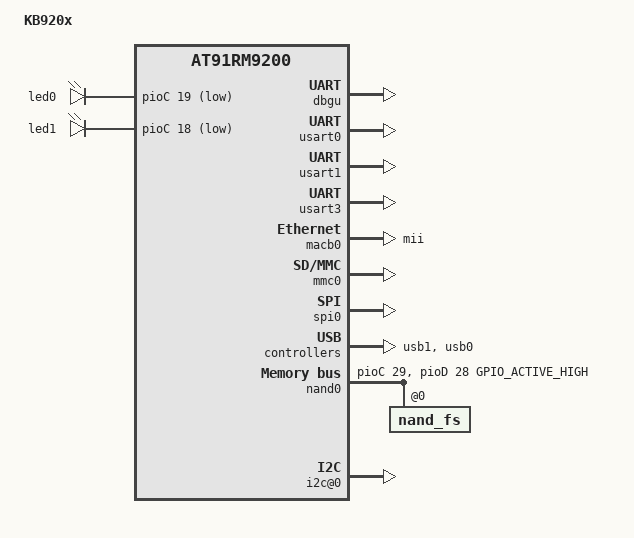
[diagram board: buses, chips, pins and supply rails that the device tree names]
/*
 * at91-kb9202.dtb - Device Tree file for RSI EWS board
 *
 * Copyright (C) 2013 Jean-Christophe PLAGNIOL-VILLARD <plagnioj@jcrosoft.com>
 *
 * Licensed under GPLv2 only
 */
/dts-v1/;
#include "at91rm9200_pqfp.dtsi"

/ {
	model = "KB920x";
	compatible = "kwikbyte,kb920x", "atmel,at91rm9200-pqfp", "atmel,at91rm9200";

	aliases {
		serial0 = &dbgu;
		serial1 = &usart0;
		serial2 = &usart1;
		serial3 = &usart3;
		serial4 = &usart2;
	};

	clocks {
		#address-cells = <1>;
		#size-cells = <1>;
		ranges;

		main_clock: clock@0 {
			compatible = "atmel,osc", "fixed-clock";
			clock-frequency = <10000000>;
		};
	};

	ahb {
		apb {
			dbgu: serial@fffff200 {
				status = "okay";
			};

			usart0: serial@fffc0000 {
				status = "okay";
			};

			usart1: serial@fffc4000 {
				status = "okay";
			};

			usart3: serial@fffcc000 {
				pinctrl-0 =
						<&pinctrl_uart3
						 &pinctrl_uart3_cts
						 &pinctrl_uart3_rts>;
				status = "okay";
			};

			macb0: ethernet@fffbc000 {
				phy-mode = "mii";
				status = "okay";
				/* phy irq on PB29 */
				pinctrl-0 = <&pinctrl_macb_rmii &pinctrl_macb_rmii_mii>;
			};

			mmc0: mmc@fffb4000 {
				pinctrl-0 = <
					&pinctrl_board_mmc0
					&pinctrl_mmc0_clk
					&pinctrl_mmc0_slot0_cmd_dat0
					&pinctrl_mmc0_slot0_dat1_3>;
				status = "okay";
				slot@0 {
					reg = <0>;
					bus-width = <4>;
					cd-gpios = <&pioB 2 GPIO_ACTIVE_HIGH>;
				};
			};

			pinctrl@fffff400 {
				mmc0 {
					pinctrl_board_mmc0: mmc0-board {
						atmel,pins =
							<AT91_PIOB 2 AT91_PERIPH_GPIO AT91_PINCTRL_PULL_UP_DEGLITCH>;
					};
				};
			};

			spi0: spi@fffe0000 {
				status = "okay";
			};

			usb1: gadget@fffb0000 {
				status = "okay";
				atmel,vbus-gpio = <&pioB 24 GPIO_ACTIVE_HIGH>;
				atmel,pullup-gpio = <&pioB 22 GPIO_ACTIVE_HIGH>;
			};
		};

		usb0: ohci@00300000 {
			num-ports = <1>;
			status = "okay";
		};

		nand0: nand@40000000 {
			status = "okay";
			gpios = <&pioC 29 GPIO_ACTIVE_HIGH	/* rdy */
				 &pioD 28 GPIO_ACTIVE_HIGH	/* nce */
				 0		/* cd */
			>;

			nand_fs@0 {
				label = "nand_fs";
				reg = <0x00000 0x10000000>;
			};
		};
	};

	leds {
		compatible = "gpio-leds";

		led0 {
			label = "led0";
			gpios = <&pioC 19 GPIO_ACTIVE_LOW>;
			linux,default-trigger = "heartbeat";
		};

		led1 {
			label = "led1";
			gpios = <&pioC 18 GPIO_ACTIVE_LOW>;
			linux,default-trigger = "timer";
		};
	};

	i2c@0 {
		status = "okay";
	};
};
